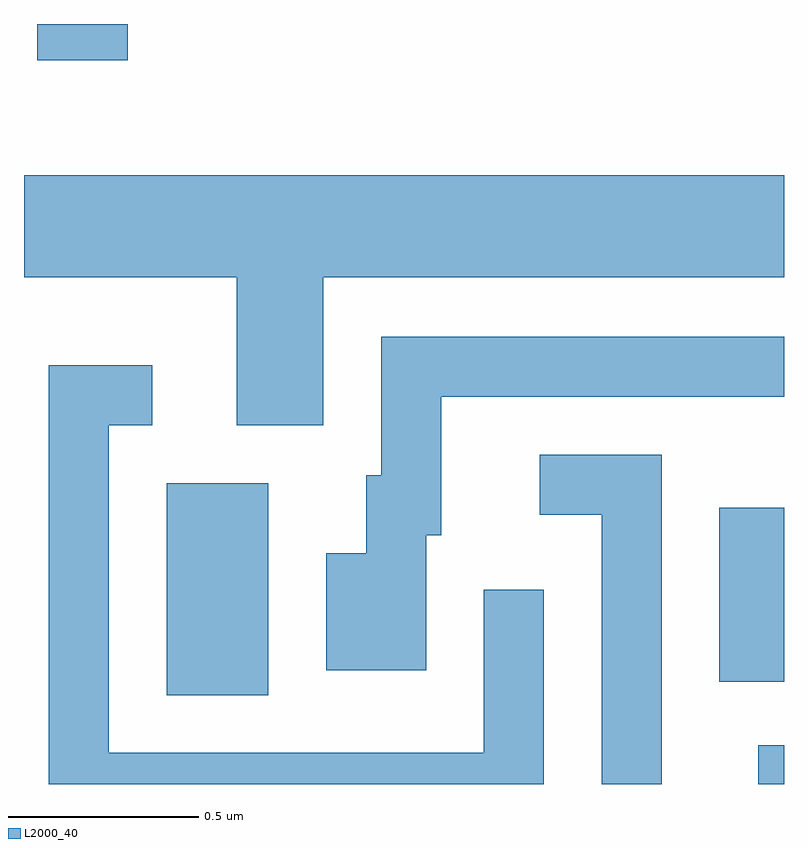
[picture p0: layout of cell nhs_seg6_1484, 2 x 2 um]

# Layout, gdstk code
import gdstk
lib = gdstk.Library(unit=1e-6, precision=1e-09)
def R(c, l, rs):  # rectangles x0, y0, x1, y1
    for r in rs: c.add(gdstk.rectangle(r[:2], r[2:], *l))
def P(c, l, *ps):  # polygons
    for p in ps: c.add(gdstk.Polygon(p, *l))
L2000_40 = (2000, 40)

nhs_seg6_1484 = lib.new_cell('nhs_seg6_1484')
R(nhs_seg6_1484, L2000_40, [(197.543,1644.162,197.611,1644.264), (195.986,1644.396,196.254,1644.954), (197.441,1644.431,197.611,1644.889), (195.646,1646.066,195.884,1646.162)])
P(nhs_seg6_1484, L2000_40, [(196.399,1645.496),(197.611,1645.496),(197.611,1645.764),(195.611,1645.764),(195.611,1645.496),(196.171,1645.496),(196.171,1645.106),(196.399,1645.106)],
  [(196.669,1644.816),(196.709,1644.816),(196.709,1645.181),(197.611,1645.181),(197.611,1645.339),(196.551,1645.339),(196.551,1644.974),(196.511,1644.974),(196.511,1644.769),(196.406,1644.769),(196.406,1644.461),(196.669,1644.461)],
  [(196.979,1644.673),(196.821,1644.673),(196.821,1644.244),(195.834,1644.244),(195.834,1645.106),(195.948,1645.106),(195.948,1645.264),(195.676,1645.264),(195.676,1644.162),(196.979,1644.162)],
  [(197.289,1645.029),(196.968,1645.029),(196.968,1644.871),(197.131,1644.871),(197.131,1644.162),(197.289,1644.162)])

lib.write_gds('nhs_seg6_1484.gds')
